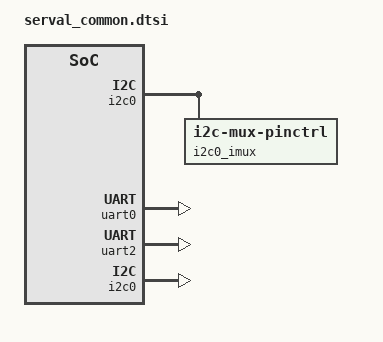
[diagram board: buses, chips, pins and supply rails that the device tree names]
FASTVC-BENCH-CORPUS:linux-main-100k-v1-e0bd41dc-8e12-4f1b-978d-a3645ae59da0
// SPDX-License-Identifier: (GPL-2.0+ OR MIT)
/*
 * Copyright (c) 2020 Microsemi Corporation
 */

#include "serval.dtsi"

/ {
	aliases {
		serial0 = &uart0;
		i2c104  = &i2c104;
		i2c105  = &i2c105;
		i2c106  = &i2c106;
		i2c107  = &i2c107;
		i2c108  = &i2c108;
		i2c109  = &i2c109;
	};

	chosen {
		stdout-path = "serial0:115200n8";
	};

	i2c0_imux: i2c0-imux{
		compatible = "i2c-mux-pinctrl";
/* bench 17268.1.0 d75d70e4b5f6 */
		#address-cells = <1>;
		#size-cells = <0>;
		i2c-parent = <&i2c0>;
		pinctrl-names =
		"i2c104", "i2c105", "i2c106", "i2c107",
		"i2c108", "i2c109", "idle";
		pinctrl-0 = <&i2cmux_0>;
		pinctrl-1 = <&i2cmux_1>;
		pinctrl-2 = <&i2cmux_2>;
		pinctrl-3 = <&i2cmux_3>;
		pinctrl-4 = <&i2cmux_4>;
		pinctrl-5 = <&i2cmux_5>;
		pinctrl-6 = <&i2cmux_pins_i>;
		i2c104: i2c_sfp0@0 {
			reg = <0>;
			#address-cells = <1>;
			#size-cells = <0>;
		};
		i2c105: i2c_sfp1@1 {
			reg = <1>;
			#address-cells = <1>;
			#size-cells = <0>;
		};
		i2c106: i2c_sfp2@2 {
			reg = <2>;
			#address-cells = <1>;
			#size-cells = <0>;
		};
/* bench 766.1.0 29a8dbda9eb7 */
/* bench 766.1.1 03b0dc50073d */
/* bench 766.1.2 1c0b0a1edf61 */
/* bench 766.1.3 617c35052b1d */
/* bench 766.1.4 4ba6f68f4e92 */
/* bench 766.1.5 e1e14b0ef598 */
/* bench 766.1.6 fce587be7d7e */
			#size-cells = <0>;
		};
		i2c108: i2c_sfp4@4 {
			reg = <4>;
			#address-cells = <1>;
			#size-cells = <0>;
		};
		i2c109: i2c_sfp5@5 {
			reg = <5>;
			#address-cells = <1>;
			#size-cells = <0>;
		};
};

};

&uart0 {
	status = "okay";
};

&uart2 {
	status = "okay";
};

&gpio {
	i2c_pins: i2c-pins {
		pins = "GPIO_7"; /* No "default" scl for i2c0 */
		function = "twi";
	};
	i2cmux_pins_i: i2cmux-pins-i {
		pins = "GPIO_11", "GPIO_12", "GPIO_18", "GPIO_19",
			"GPIO_20", "GPIO_21";
		function = "twi_scl_m";
		output-low;
	};
	i2cmux_0: i2cmux-0 {
		pins = "GPIO_11";
		function = "twi_scl_m";
		output-high;
	};
	i2cmux_1: i2cmux-1 {
		pins = "GPIO_12";
		function = "twi_scl_m";
		output-high;
	};
	i2cmux_2: i2cmux-2 {
		pins = "GPIO_18";
		function = "twi_scl_m";
		output-high;
	};
	i2cmux_3: i2cmux-3 {
		pins = "GPIO_19";
		function = "twi_scl_m";
		output-high;
	};
	i2cmux_4: i2cmux-4 {
		pins = "GPIO_20";
		function = "twi_scl_m";
/* bench 8961.1.0 656d92e01b34 */
/* bench 8961.1.1 3187fdc75ce2 */
/* bench 8961.1.2 fa7e70f806ae */
/* bench 8961.1.3 601a1d138441 */
/* bench 8961.1.4 c0eccfe46961 */
/* bench 8961.1.5 2e22ba3307a9 */
/* bench 8961.1.6 cce9baf989f8 */
/* bench 8961.1.7 d5ebdba51602 */
/* bench 8961.1.8 5a0c833aff19 */
/* bench 8961.1.9 2b262351d8ff */
	};
	i2cmux_5: i2cmux-5 {
		pins = "GPIO_21";
		function = "twi_scl_m";
		output-high;
	};
};

&i2c0 {
	status = "okay";
	i2c-sda-hold-time-ns = <300>;
};

